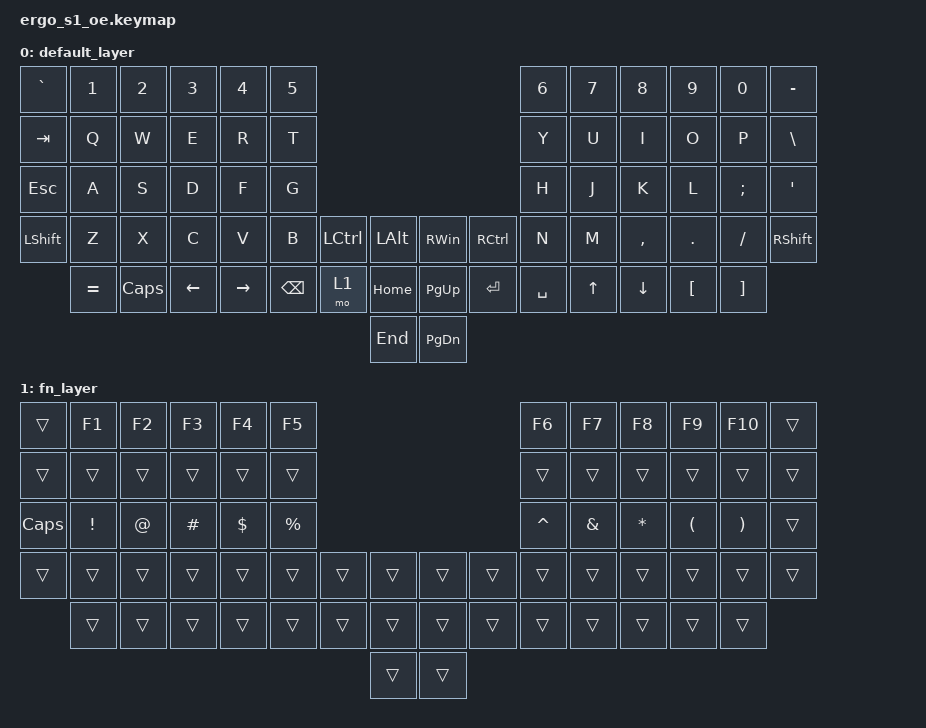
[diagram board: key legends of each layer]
/*
 * Copyright (c) 2021 The ZMK Contributors
 *
 * SPDX-License-Identifier: MIT
 */

#include <behaviors.dtsi>
#include <dt-bindings/zmk/keys.h>

#define DEFAULT 0
#define FN  1

/ {
    combos { compatible = "zmk,combos"; };

    keymap {
        compatible = "zmk,keymap";

        default_layer {
            // ---------------------------------------------------------------------------------------------------------------------------------
            // | ESC  |  1   |  2   |  3   |  4   |  5   |                                                   |  6   |  7   |  8   |  9   |  0   | BSPC |
            // | WIN  |  Q   |  W   |  E   |  R   |  T   |                                                   |  Y   |  U   |  I   |  O   |  P   | EQL  |
            // | TAB  |  A   |  S   |  D   |  F   |  G   |                                                   |  H   |  J   |  K   |  L   | SCLN | QUOT |
            // | LCTL |  Z   |  X   |  C   |  V   |  B   |      | CTL  | ALT  |         | CAPS | CTL  |      |  N   |  M   | COMM | DOT  | SLSH | MINS |
            //        | GRV  | BSLS | LEFT | RGHT |      | SHFT |  FN  | HOME |         | PGUP | ENT  | SPC  |      |  UP  |  DN  | LBKT | RBKT |
            //                                                         | END  |         | PGDN |

            bindings = <
&kp GRAVE       &kp N1     &kp N2        &kp N3    &kp N4     &kp N5                                                                             &kp N6  &kp N7  &kp N8     &kp N9      &kp N0     &kp MINUS
&kp TAB         &kp Q      &kp W         &kp E     &kp R      &kp T                                                                              &kp Y   &kp U   &kp I      &kp O       &kp P      &kp BACKSLASH
&kp ESCAPE      &kp A      &kp S         &kp D     &kp F      &kp G                                                                              &kp H   &kp J   &kp K      &kp L       &kp SEMI   &kp SQT
&kp LEFT_SHIFT  &kp Z      &kp X         &kp C     &kp V      &kp B                  &kp LCTRL  &kp LEFT_ALT    &kp RWIN   &kp RCTRL             &kp N   &kp M   &kp COMMA  &kp PERIOD  &kp SLASH  &kp RIGHT_SHIFT
                &kp EQUAL  &kp CAPSLOCK  &kp LEFT  &kp RIGHT          &kp BACKSPACE  &mo 1      &kp HOME        &kp PG_UP  &kp ENTER  &kp SPACE          &kp UP  &kp DOWN   &kp LBKT    &kp RBKT
                                                                                                &kp END         &kp PG_DN
            >;
        };

        fn_layer {
            // ---------------------------------------------------------------------------------------------------------------------------------
            // |BT_CLR|  F1  |  F2  |  F3  |  F4  |  F5  |                                                   |      | NLCK |  =   |  /   |  *   |      |
            // |      |  F6  |  F7  |  F8  |  F9  |  F10 |                                                   |      |  7   |  8   |  9   |  -   |      |
            // |      |      |      |      |      |      |                                                   |      |  4   |  5   |  6   |  +   |      |
            // |      |      |      |      |      | PTSC |      |      |      |         |      |      |      |      |  1   |  2   |  3   | ENT  |      |
            //        |      | INS  |      |      |      |      |  FN  |      |         |      |      |      |      |      |      |  .   | ENT  |
            //                                                         |      |         |      |

            bindings = <
&trans        &kp F1    &kp F2       &kp F3     &kp F4      &kp F5                                                         &kp F6     &kp F7         &kp F8        &kp F9                &kp F10                &trans
&trans        &trans    &trans       &trans     &trans      &trans                                                         &trans     &trans         &trans        &trans                &trans                 &trans
&kp CAPSLOCK  &kp EXCL  &kp AT_SIGN  &kp POUND  &kp DOLLAR  &kp PERCENT                                                    &kp CARET  &kp AMPERSAND  &kp ASTERISK  &kp LEFT_PARENTHESIS  &kp RIGHT_PARENTHESIS  &trans
&trans        &trans    &trans       &trans     &trans      &trans               &trans  &trans    &trans  &trans          &trans     &trans         &trans        &trans                &trans                 &trans
              &trans    &trans       &trans     &trans                   &trans  &trans  &trans    &trans  &trans  &trans             &trans         &trans        &trans                &trans
                                                                                         &trans    &trans
            >;
        };
    };
};
